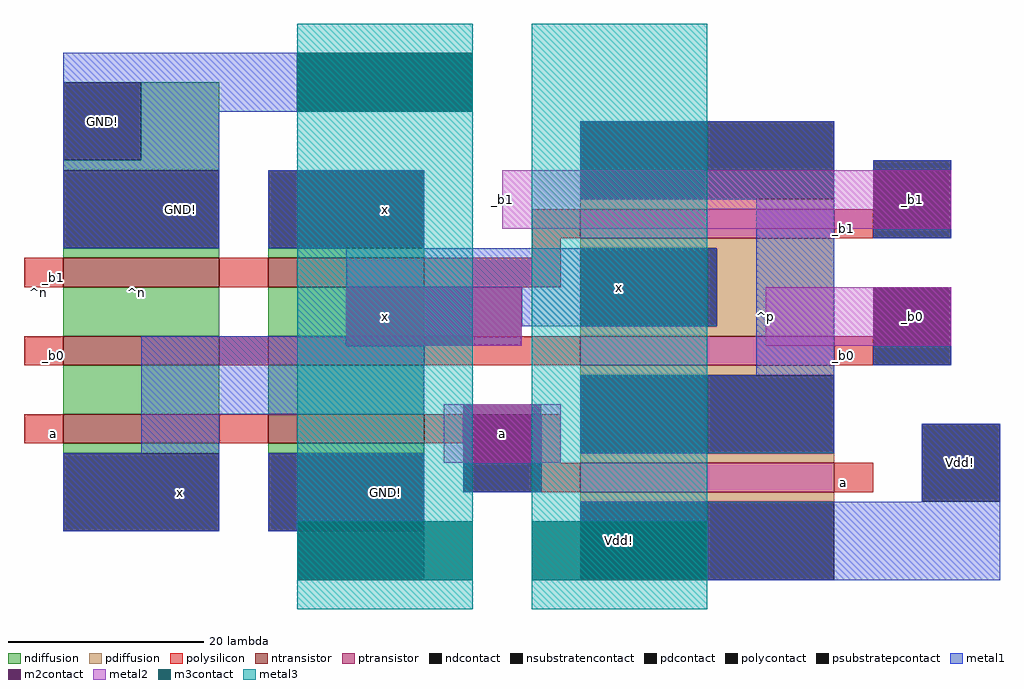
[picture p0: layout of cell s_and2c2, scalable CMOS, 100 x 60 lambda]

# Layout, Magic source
magic
tech scmos
<< ndiffusion >>
rect -37 592 -29 600
rect -45 591 -29 592
rect -45 582 -29 583
rect -24 582 -8 583
rect -45 574 -29 579
rect -24 574 -8 579
rect -45 566 -29 571
rect -24 566 -8 571
rect -45 562 -29 563
rect -24 562 -8 563
<< pdiffusion >>
rect 8 587 34 588
rect 8 583 34 584
rect 22 575 34 583
rect 8 574 34 575
rect 8 570 34 571
rect 8 561 34 562
rect 8 557 34 558
<< ntransistor >>
rect -45 579 -29 582
rect -24 579 -8 582
rect -45 571 -29 574
rect -24 571 -8 574
rect -45 563 -29 566
rect -24 563 -8 566
<< ptransistor >>
rect 8 584 34 587
rect 8 571 34 574
rect 8 558 34 561
<< polysilicon >>
rect 3 584 8 587
rect 34 584 38 587
rect 3 582 6 584
rect -49 579 -45 582
rect -29 579 -24 582
rect -8 579 6 582
rect -49 571 -45 574
rect -29 571 -24 574
rect -8 571 8 574
rect 34 571 38 574
rect -49 563 -45 566
rect -29 563 -24 566
rect -8 563 -4 566
rect 4 561 6 566
rect 4 558 8 561
rect 34 558 38 561
<< ndcontact >>
rect -45 583 -29 591
rect -24 583 -8 591
rect -45 554 -29 562
rect -24 554 -8 562
<< pdcontact >>
rect 8 588 34 596
rect 8 575 22 583
rect 8 562 34 570
rect 8 549 34 557
<< psubstratepcontact >>
rect -45 592 -37 600
<< nsubstratencontact >>
rect 43 557 51 565
<< polycontact >>
rect 38 584 46 592
rect 38 571 46 579
rect -4 558 4 566
<< metal1 >>
rect -45 597 -21 603
rect -45 583 -29 597
rect -24 583 -8 591
rect 8 588 34 596
rect -16 579 22 583
rect -37 573 -16 574
rect 2 575 22 579
rect -37 566 -8 573
rect 26 570 34 588
rect 38 591 46 592
rect 38 584 46 585
rect 38 571 46 573
rect -37 562 -29 566
rect -45 554 -29 562
rect -24 555 -8 562
rect 8 562 34 570
rect -4 558 4 561
rect 43 557 51 565
rect -24 554 -21 555
rect 8 555 51 557
rect 21 549 51 555
<< m2contact >>
rect -21 597 -3 603
rect -16 573 2 579
rect 38 585 46 591
rect 38 573 46 579
rect -4 561 4 567
rect -21 549 -8 555
rect 8 549 21 555
<< metal2 >>
rect 0 585 46 591
rect -16 573 2 579
rect 27 573 46 579
rect -6 561 6 567
<< m3contact >>
rect -21 597 -3 603
rect -21 549 -3 555
rect 3 549 21 555
<< metal3 >>
rect -21 546 -3 606
rect 3 546 21 606
<< labels >>
rlabel metal1 12 579 12 579 1 x
rlabel m2contact 12 553 12 553 1 Vdd!
rlabel metal1 -12 558 -12 558 1 GND!
rlabel metal1 -12 587 -12 587 5 x
rlabel polysilicon 35 559 35 559 1 a
rlabel polysilicon 35 572 35 572 7 _b0
rlabel polysilicon 35 585 35 585 7 _b1
rlabel metal1 -33 587 -33 587 5 GND!
rlabel metal1 -33 558 -33 558 1 x
rlabel polysilicon -46 564 -46 564 3 a
rlabel polysilicon -46 572 -46 572 3 _b0
rlabel polysilicon -46 580 -46 580 3 _b1
rlabel metal2 0 561 0 567 1 a
rlabel metal2 42 576 42 576 7 _b0
rlabel metal2 0 585 0 591 3 _b1
rlabel space -51 553 -24 604 7 ^n
rlabel metal2 -12 576 -12 576 1 x
rlabel metal2 27 573 27 579 7 ^p
rlabel metal1 -41 596 -41 596 1 GND!
rlabel space -50 554 -45 603 7 ^n
rlabel metal1 47 561 47 561 7 Vdd!
rlabel space 22 548 52 597 3 ^p
rlabel metal2 42 588 42 588 1 _b1
<< end >>
